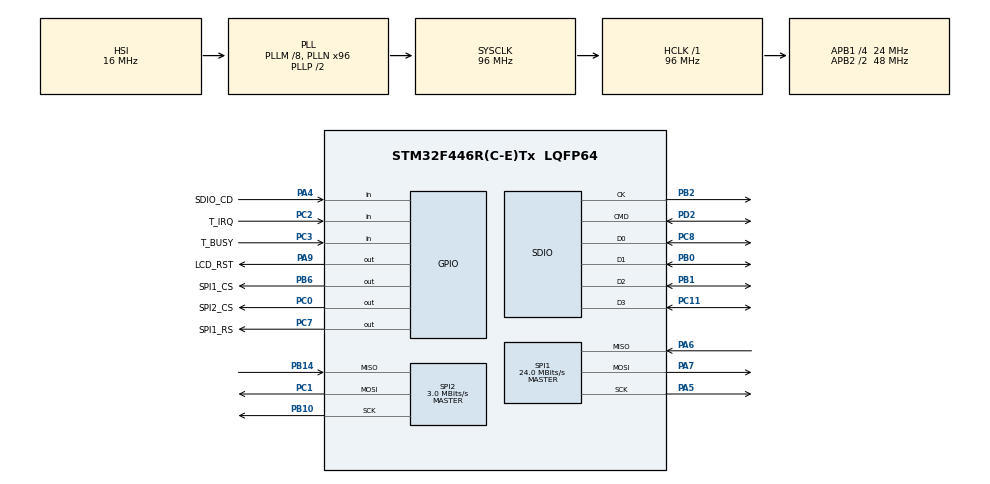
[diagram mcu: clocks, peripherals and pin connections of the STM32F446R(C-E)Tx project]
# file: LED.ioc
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FATFS._CODE_PAGE=936
FATFS._USE_LFN=2
FREERTOS.Tasks01=defaultTask,0,128,StartDefaultTask,Default
Mcu.Family=STM32F4
Mcu.Name=STM32F446R(C-E)Tx
Mcu.Package=LQFP64
NVIC.PriorityGroup=NVIC_PRIORITYGROUP_4
NVIC.TIM1_UP_TIM10_IRQn=true\:0\:0\:false\:false\:true
NVIC.TimeBase=TIM1_UP_TIM10_IRQn
NVIC.TimeBaseIP=TIM1
PA4.GPIO_Label=SDIO_CD
PA4.Signal=GPIO_Input
PA5.Mode=Full_Duplex_Master
PA5.Signal=SPI1_SCK
PA6.Mode=Full_Duplex_Master
PA6.Signal=SPI1_MISO
PA7.Mode=Full_Duplex_Master
PA7.Signal=SPI1_MOSI
PA9.GPIO_Label=LCD_RST
PA9.PinState=GPIO_PIN_SET
PA9.Signal=GPIO_Output
PB0.Mode=SD_4_bits_Wide_bus
PB0.Signal=SDIO_D1
PB1.Mode=SD_4_bits_Wide_bus
PB1.Signal=SDIO_D2
PB10.Mode=Full_Duplex_Master
PB10.Signal=SPI2_SCK
PB14.Mode=Full_Duplex_Master
PB14.Signal=SPI2_MISO
PB2.Mode=SD_4_bits_Wide_bus
PB2.Signal=SDIO_CK
PB6.GPIO_Label=SPI1_CS
PB6.PinState=GPIO_PIN_SET
PB6.Signal=GPIO_Output
PC0.GPIO_Label=SPI2_CS
PC0.Signal=GPIO_Output
PC1.Mode=Full_Duplex_Master
PC1.Signal=SPI2_MOSI
PC11.Mode=SD_4_bits_Wide_bus
PC11.Signal=SDIO_D3
PC2.GPIO_Label=T_IRQ
PC2.Signal=GPIO_Input
PC3.GPIO_Label=T_BUSY
PC3.Signal=GPIO_Input
PC7.GPIO_Label=SPI1_RS
PC7.Signal=GPIO_Output
PC8.Mode=SD_4_bits_Wide_bus
PC8.Signal=SDIO_D0
PD2.Mode=SD_4_bits_Wide_bus
PD2.Signal=SDIO_CMD
ProjectManager.HeapSize=0x200
ProjectManager.StackSize=0x1000
ProjectManager.TargetToolchain=EWARM
RCC.AHBFreq_Value=96000000
RCC.APB1CLKDivider=RCC_HCLK_DIV4
RCC.APB1Freq_Value=24000000
RCC.APB1TimFreq_Value=48000000
RCC.APB2CLKDivider=RCC_HCLK_DIV2
RCC.APB2Freq_Value=48000000
RCC.APB2TimFreq_Value=96000000
RCC.CortexFreq_Value=96000000
RCC.HCLKFreq_Value=96000000
RCC.PLLM=8
RCC.PLLN=96
RCC.PLLQ=4
RCC.SYSCLKFreq_VALUE=96000000
RCC.SYSCLKSource=RCC_SYSCLKSOURCE_PLLCLK
RCC.USBFreq_Value=48000000
RCC.VCOOutputFreq_Value=192000000
SDIO.BusWide=SDIO_BUS_WIDE_1B
SDIO.WideMode=SDIO_BUS_WIDE_4B
SPI1.BaudRatePrescaler=SPI_BAUDRATEPRESCALER_2
SPI1.CalculateBaudRate=24.0 MBits/s
SPI1.Mode=SPI_MODE_MASTER
SPI2.BaudRatePrescaler=SPI_BAUDRATEPRESCALER_8
SPI2.CalculateBaudRate=3.0 MBits/s
SPI2.Mode=SPI_MODE_MASTER
VP_FATFS_VS_SDIO.Mode=SDIO
VP_FREERTOS_VS_ENABLE.Mode=Enabled
VP_SYS_VS_tim1.Mode=TIM1
board=LED

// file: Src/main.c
/**
  ******************************************************************************
  * File Name          : main.c
  * Description        : Main program body
  ******************************************************************************
  *
  * COPYRIGHT(c) 2016 STMicroelectronics
  *
  * Redistribution and use in source and binary forms, with or without modification,
  * are permitted provided that the following conditions are met:
  *   1. Redistributions of source code must retain the above copyright notice,
  *      this list of conditions and the following disclaimer.
  *   2. Redistributions in binary form must reproduce the above copyright notice,
  *      this list of conditions and the following disclaimer in the documentation
  *      and/or other materials provided with the distribution.
  *   3. Neither the name of STMicroelectronics nor the names of its contributors
  *      may be used to endorse or promote products derived from this software
  *      without specific prior written permission.
  *
  * THIS SOFTWARE IS PROVIDED BY THE COPYRIGHT HOLDERS AND CONTRIBUTORS "AS IS"
  * AND ANY EXPRESS OR IMPLIED WARRANTIES, INCLUDING, BUT NOT LIMITED TO, THE
  * IMPLIED WARRANTIES OF MERCHANTABILITY AND FITNESS FOR A PARTICULAR PURPOSE ARE
  * DISCLAIMED. IN NO EVENT SHALL THE COPYRIGHT HOLDER OR CONTRIBUTORS BE LIABLE
  * FOR ANY DIRECT, INDIRECT, INCIDENTAL, SPECIAL, EXEMPLARY, OR CONSEQUENTIAL
  * DAMAGES (INCLUDING, BUT NOT LIMITED TO, PROCUREMENT OF SUBSTITUTE GOODS OR
  * SERVICES; LOSS OF USE, DATA, OR PROFITS; OR BUSINESS INTERRUPTION) HOWEVER
  * CAUSED AND ON ANY THEORY OF LIABILITY, WHETHER IN CONTRACT, STRICT LIABILITY,
  * OR TORT (INCLUDING NEGLIGENCE OR OTHERWISE) ARISING IN ANY WAY OUT OF THE USE
  * OF THIS SOFTWARE, EVEN IF ADVISED OF THE POSSIBILITY OF SUCH DAMAGE.
  *
  ******************************************************************************
  */
#include "stm32f4xx_hal.h"
#include "cmsis_os.h"
#include "fatfs.h"

/* USER CODE BEGIN Includes */
#include "GUI.h"
#include "LCD22.h"
#include "GUIDEMO.h"
/* USER CODE END Includes */

SD_HandleTypeDef hsd;
HAL_SD_CardInfoTypedef SDCardInfo;

SPI_HandleTypeDef hspi1;
SPI_HandleTypeDef hspi2;

osThreadId defaultTaskHandle;

/* USER CODE BEGIN PV */
/* Private variables ---------------------------------------------------------*/
osThreadId lcdTaskHandle;
/* USER CODE END PV */

void SystemClock_Config(void);
static void MX_GPIO_Init(void);
static void MX_SPI1_Init(void);
static void MX_SDIO_SD_Init(void);
static void MX_SPI2_Init(void);
void StartDefaultTask(void const * argument);

/* USER CODE BEGIN PFP */
/* Private function prototypes -----------------------------------------------*/
void LcdTask(void const * argument);
/* USER CODE END PFP */

int main(void)
{

  /* MCU Configuration----------------------------------------------------------*/

  /* Reset of all peripherals, Initializes the Flash interface and the Systick. */
  HAL_Init();

  /* Configure the system clock */
  SystemClock_Config();

  /* Initialize all configured peripherals */
  MX_GPIO_Init();
  MX_SPI1_Init();
  MX_SDIO_SD_Init();
  MX_SPI2_Init();

  /* Create the thread(s) */
  /* definition and creation of defaultTask */
  osThreadDef(defaultTask, StartDefaultTask, osPriorityNormal, 0, 128);
  defaultTaskHandle = osThreadCreate(osThread(defaultTask), NULL);

  /* USER CODE BEGIN RTOS_THREADS */
  /* add threads, ... */
  osThreadDef(lcdTask, LcdTask, osPriorityNormal, 0, 1024);
  lcdTaskHandle = osThreadCreate(osThread(lcdTask), NULL);
  /* USER CODE END RTOS_THREADS */

  /* Start scheduler */
  osKernelStart();

  /* We should never get here as control is now taken by the scheduler */

  /* Infinite loop */
  while (1)
  {

  }

}

/** System Clock Configuration
*/
void SystemClock_Config(void)
{

  RCC_OscInitTypeDef RCC_OscInitStruct;
  RCC_ClkInitTypeDef RCC_ClkInitStruct;
  RCC_PeriphCLKInitTypeDef PeriphClkInitStruct;

  __HAL_RCC_PWR_CLK_ENABLE();

  __HAL_PWR_VOLTAGESCALING_CONFIG(PWR_REGULATOR_VOLTAGE_SCALE3);

  RCC_OscInitStruct.OscillatorType = RCC_OSCILLATORTYPE_HSI;
  RCC_OscInitStruct.HSIState = RCC_HSI_ON;
  RCC_OscInitStruct.HSICalibrationValue = 16;
  RCC_OscInitStruct.PLL.PLLState = RCC_PLL_ON;
  RCC_OscInitStruct.PLL.PLLSource = RCC_PLLSOURCE_HSI;
  RCC_OscInitStruct.PLL.PLLM = 8;
  RCC_OscInitStruct.PLL.PLLN = 96;
  RCC_OscInitStruct.PLL.PLLP = RCC_PLLP_DIV2;
  RCC_OscInitStruct.PLL.PLLQ = 4;
  RCC_OscInitStruct.PLL.PLLR = 2;
  HAL_RCC_OscConfig(&RCC_OscInitStruct);

  RCC_ClkInitStruct.ClockType = RCC_CLOCKTYPE_HCLK|RCC_CLOCKTYPE_SYSCLK
                              |RCC_CLOCKTYPE_PCLK1|RCC_CLOCKTYPE_PCLK2;
  RCC_ClkInitStruct.SYSCLKSource = RCC_SYSCLKSOURCE_PLLCLK;
  RCC_ClkInitStruct.AHBCLKDivider = RCC_SYSCLK_DIV1;
  RCC_ClkInitStruct.APB1CLKDivider = RCC_HCLK_DIV4;
  RCC_ClkInitStruct.APB2CLKDivider = RCC_HCLK_DIV2;
  HAL_RCC_ClockConfig(&RCC_ClkInitStruct, FLASH_LATENCY_3);

  PeriphClkInitStruct.PeriphClockSelection = RCC_PERIPHCLK_SDIO|RCC_PERIPHCLK_CK48;
  PeriphClkInitStruct.Clk48ClockSelection = RCC_CK48CLKSOURCE_PLLQ;
  PeriphClkInitStruct.SdioClockSelection = RCC_SDIOCLKSOURCE_CK48;
  HAL_RCCEx_PeriphCLKConfig(&PeriphClkInitStruct);

  HAL_SYSTICK_Config(HAL_RCC_GetHCLKFreq()/1000);

  HAL_SYSTICK_CLKSourceConfig(SYSTICK_CLKSOURCE_HCLK);

  /* SysTick_IRQn interrupt configuration */
  HAL_NVIC_SetPriority(SysTick_IRQn, 15, 0);
}

/* SDIO init function */
void MX_SDIO_SD_Init(void)
{

  hsd.Instance = SDIO;
  hsd.Init.ClockEdge = SDIO_CLOCK_EDGE_RISING;
  hsd.Init.ClockBypass = SDIO_CLOCK_BYPASS_DISABLE;
  hsd.Init.ClockPowerSave = SDIO_CLOCK_POWER_SAVE_DISABLE;
  hsd.Init.BusWide = SDIO_BUS_WIDE_1B;
  hsd.Init.HardwareFlowControl = SDIO_HARDWARE_FLOW_CONTROL_DISABLE;
  hsd.Init.ClockDiv = 0;

}

/* SPI1 init function */
void MX_SPI1_Init(void)
{

  hspi1.Instance = SPI1;
  hspi1.Init.Mode = SPI_MODE_MASTER;
  hspi1.Init.Direction = SPI_DIRECTION_2LINES;
  hspi1.Init.DataSize = SPI_DATASIZE_8BIT;
  hspi1.Init.CLKPolarity = SPI_POLARITY_LOW;
  hspi1.Init.CLKPhase = SPI_PHASE_1EDGE;
  hspi1.Init.NSS = SPI_NSS_SOFT;
  hspi1.Init.BaudRatePrescaler = SPI_BAUDRATEPRESCALER_2;
  hspi1.Init.FirstBit = SPI_FIRSTBIT_MSB;
  hspi1.Init.TIMode = SPI_TIMODE_DISABLE;
  hspi1.Init.CRCCalculation = SPI_CRCCALCULATION_DISABLE;
  hspi1.Init.CRCPolynomial = 10;
  HAL_SPI_Init(&hspi1);

}

/* SPI2 init function */
void MX_SPI2_Init(void)
{

  hspi2.Instance = SPI2;
  hspi2.Init.Mode = SPI_MODE_MASTER;
  hspi2.Init.Direction = SPI_DIRECTION_2LINES;
  hspi2.Init.DataSize = SPI_DATASIZE_8BIT;
  hspi2.Init.CLKPolarity = SPI_POLARITY_LOW;
  hspi2.Init.CLKPhase = SPI_PHASE_1EDGE;
  hspi2.Init.NSS = SPI_NSS_SOFT;
  hspi2.Init.BaudRatePrescaler = SPI_BAUDRATEPRESCALER_8;
  hspi2.Init.FirstBit = SPI_FIRSTBIT_MSB;
  hspi2.Init.TIMode = SPI_TIMODE_DISABLE;
  hspi2.Init.CRCCalculation = SPI_CRCCALCULATION_DISABLE;
  hspi2.Init.CRCPolynomial = 10;
  HAL_SPI_Init(&hspi2);

}

/** Configure pins as
        * Analog
        * Input
        * Output
        * EVENT_OUT
        * EXTI
*/
void MX_GPIO_Init(void)
{

  GPIO_InitTypeDef GPIO_InitStruct;

  /* GPIO Ports Clock Enable */
  __HAL_RCC_GPIOC_CLK_ENABLE();
  __HAL_RCC_GPIOA_CLK_ENABLE();
  __HAL_RCC_GPIOB_CLK_ENABLE();
  __HAL_RCC_GPIOD_CLK_ENABLE();

  /*Configure GPIO pin Output Level */
  HAL_GPIO_WritePin(GPIOC, SPI2_CS_Pin|SPI1_RS_Pin, GPIO_PIN_RESET);

  /*Configure GPIO pin Output Level */
  HAL_GPIO_WritePin(LCD_RST_GPIO_Port, LCD_RST_Pin, GPIO_PIN_SET);

  /*Configure GPIO pin Output Level */
  HAL_GPIO_WritePin(SPI1_CS_GPIO_Port, SPI1_CS_Pin, GPIO_PIN_SET);

  /*Configure GPIO pins : SPI2_CS_Pin SPI1_RS_Pin */
  GPIO_InitStruct.Pin = SPI2_CS_Pin|SPI1_RS_Pin;
  GPIO_InitStruct.Mode = GPIO_MODE_OUTPUT_PP;
  GPIO_InitStruct.Pull = GPIO_NOPULL;
  GPIO_InitStruct.Speed = GPIO_SPEED_FREQ_LOW;
  HAL_GPIO_Init(GPIOC, &GPIO_InitStruct);

  /*Configure GPIO pins : T_IRQ_Pin T_BUSY_Pin */
  GPIO_InitStruct.Pin = T_IRQ_Pin|T_BUSY_Pin;
  GPIO_InitStruct.Mode = GPIO_MODE_INPUT;
  GPIO_InitStruct.Pull = GPIO_NOPULL;
  HAL_GPIO_Init(GPIOC, &GPIO_InitStruct);

  /*Configure GPIO pin : SDIO_CD_Pin */
  GPIO_InitStruct.Pin = SDIO_CD_Pin;
  GPIO_InitStruct.Mode = GPIO_MODE_INPUT;
  GPIO_InitStruct.Pull = GPIO_NOPULL;
  HAL_GPIO_Init(SDIO_CD_GPIO_Port, &GPIO_InitStruct);

  /*Configure GPIO pin : LCD_RST_Pin */
  GPIO_InitStruct.Pin = LCD_RST_Pin;
  GPIO_InitStruct.Mode = GPIO_MODE_OUTPUT_PP;
  GPIO_InitStruct.Pull = GPIO_NOPULL;
  GPIO_InitStruct.Speed = GPIO_SPEED_FREQ_LOW;
  HAL_GPIO_Init(LCD_RST_GPIO_Port, &GPIO_InitStruct);

  /*Configure GPIO pin : SPI1_CS_Pin */
  GPIO_InitStruct.Pin = SPI1_CS_Pin;
  GPIO_InitStruct.Mode = GPIO_MODE_OUTPUT_PP;
  GPIO_InitStruct.Pull = GPIO_NOPULL;
  GPIO_InitStruct.Speed = GPIO_SPEED_FREQ_LOW;
  HAL_GPIO_Init(SPI1_CS_GPIO_Port, &GPIO_InitStruct);

}

/* USER CODE BEGIN 4 */
void LcdTask(void const * argument)
{
	dis_touch();

	GUI_Init();
/*
	GUI_SetBkColor(GUI_BLUE);
	GUI_SetColor(GUI_RED);
	GUI_Clear();

	GUI_DrawCircle(100,100,50);

	GUI_DispStringAt("Made By THUA!",10,10);

	GUI_CURSOR_Show();
*/
	en_touch();

	GUIDEMO_main();

	while(1)
	{
		osDelay(1);
	}

}

/* USER CODE END 4 */

/* StartDefaultTask function */
void StartDefaultTask(void const * argument)
{
  /* init code for FATFS */
  MX_FATFS_Init();

  /* USER CODE BEGIN 5 */
  /* Infinite loop */
 while(1)
  {
  	GPIO_PinState ps;

  	ps = HAL_GPIO_ReadPin(GPIOC, GPIO_PIN_2);

	if(ps == GPIO_PIN_RESET)
	{
		if(get_point_xy())
		{
			get_curr_pot();

			GUI_TOUCH_Exec();

			GUI_Exec();
		}
	}
  	osDelay(1);
  }
  /* USER CODE END 5 */
}

/************************ (C) COPYRIGHT STMicroelectronics *****END OF FILE****/
